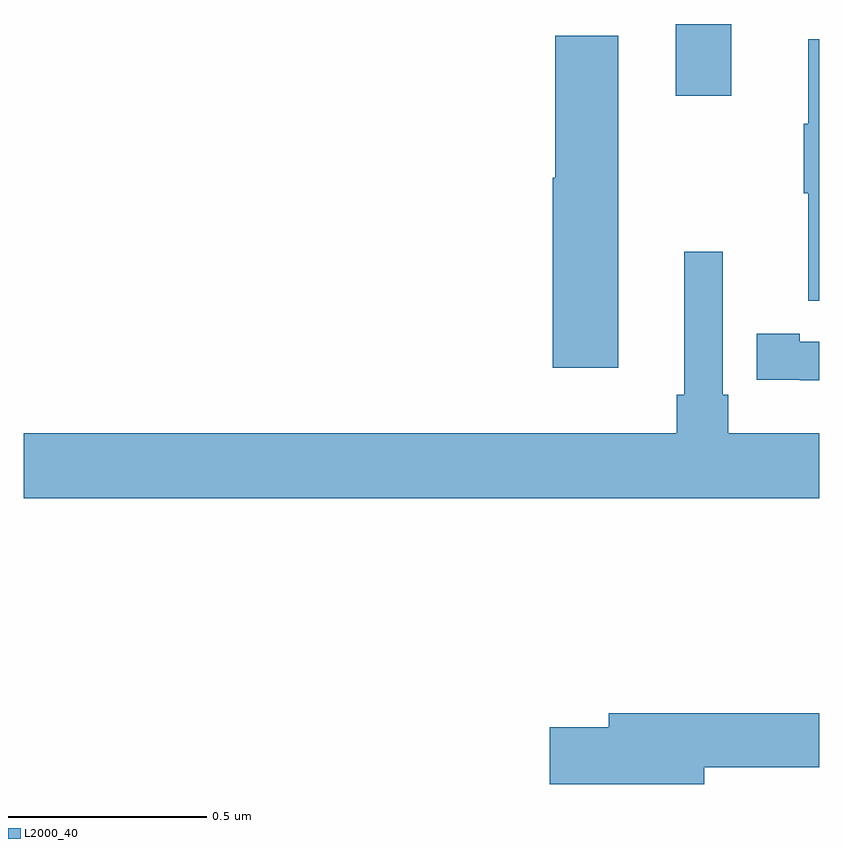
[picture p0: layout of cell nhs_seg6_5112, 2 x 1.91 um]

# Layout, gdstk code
import gdstk
lib = gdstk.Library(unit=1e-6, precision=1e-09)
def R(c, l, rs):  # rectangles x0, y0, x1, y1
    for r in rs: c.add(gdstk.rectangle(r[:2], r[2:], *l))
def P(c, l, *ps):  # polygons
    for p in ps: c.add(gdstk.Polygon(p, *l))
L2000_40 = (2000, 40)

nhs_seg6_5112 = lib.new_cell('nhs_seg6_5112')
R(nhs_seg6_5112, L2000_40, [(179.639,976.32,179.779,976.5)])
P(nhs_seg6_5112, L2000_40, [(179.494,976.471),(179.336,976.471),(179.336,976.113),(179.33,976.113),(179.33,975.636),(179.494,975.636)],
  [(180,976.462),(179.972,976.462),(179.972,976.249),(179.961,976.249),(179.961,976.075),(179.972,976.075),(179.972,975.804),(180,975.804)],
  [(180,975.472),(179.771,975.472),(179.771,975.568),(179.757,975.568),(179.757,975.928),(179.66,975.928),(179.66,975.568),(179.641,975.568),(179.641,975.472),(178,975.472),(178,975.308),(180,975.308)],
  [(180,975.702),(179.95,975.702),(179.95,975.722),(179.842,975.722),(179.842,975.606),(179.95,975.606),(179.95,975.605),(180,975.605)],
  [(179.71,974.632),(180,974.632),(180,974.768),(179.471,974.768),(179.471,974.732),(179.322,974.732),(179.322,974.59),(179.71,974.59)])

lib.write_gds('nhs_seg6_5112.gds')
